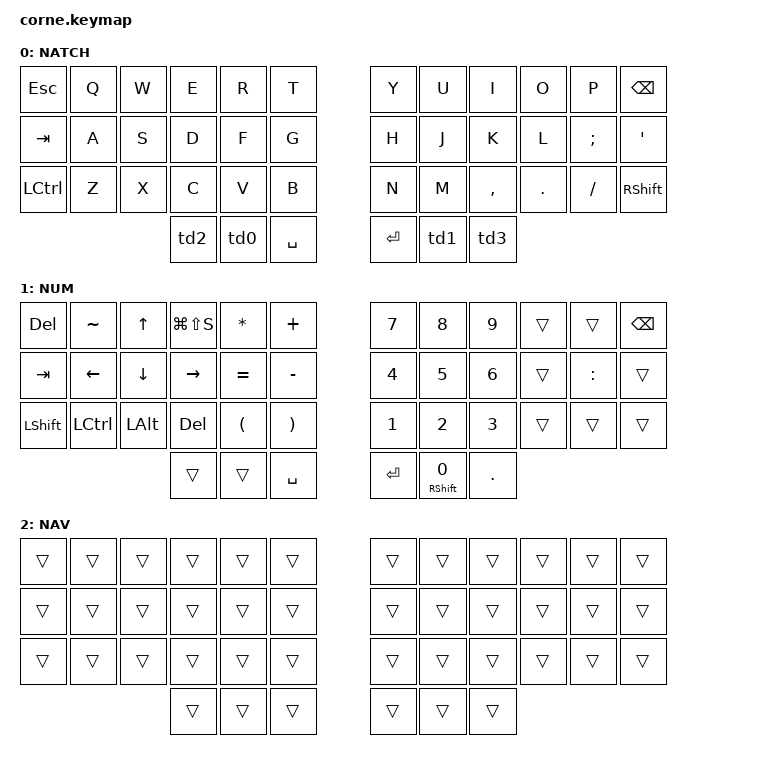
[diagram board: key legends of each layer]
/*
 * Copyright (c) 2020 The ZMK Contributors
 *
 * SPDX-License-Identifier: MIT
 */

#include <dt-bindings/led/led.h>
#include <dt-bindings/zmk/reset.h>
#include <behaviors.dtsi>
#include <dt-bindings/zmk/keys.h>

&led_strip { chain-length = <27>; };

/ {
    behaviors {
        td0: td0 {
            compatible = "zmk,behavior-tap-dance";
            label = "TD0";
            #binding-cells = <0>;
            bindings = <&kp LEFT_SHIFT>, <&kp HOME>;
        };

        td1: td1 {
            compatible = "zmk,behavior-tap-dance";
            label = "TD1";
            #binding-cells = <0>;
            bindings = <&kp RIGHT_SHIFT>, <&kp END>;
        };

        td2: td2 {
            compatible = "zmk,behavior-tap-dance";
            label = "TD2";
            #binding-cells = <0>;
            bindings = <&mo 1>, <&kp LEFT_GUI>;
        };

        td3: td3 {
            compatible = "zmk,behavior-tap-dance";
            label = "TD3";
            #binding-cells = <0>;
            bindings = <&kp RIGHT_ALT>, <&tog 1>;
        };
    };

    keymap {
        compatible = "zmk,keymap";

        Letters {
            display-name = "NATCH";

            // -----------------------------------------------------------------------------------------
            // |  TAB |  Q  |  W  |  E  |  R  |  T  |   |  Y  |  U   |  I  |  O  |  P  | BKSP |
            // | CTRL |  A  |  S  |  D  |  F  |  G  |   |  H  |  J   |  K  |  L  |  ;  |  '   |
            // | SHFT |  Z  |  X  |  C  |  V  |  B  |   |  N  |  M   |  ,  |  .  |  /  | ESC  |
            //                    | GUI | LWR | SPC |   | ENT | RSE  | ALT |

            bindings = <
&kp ESCAPE  &kp Q  &kp W  &kp E  &kp R  &kp T        &kp Y    &kp U  &kp I      &kp O    &kp P     &kp BSPC
&kp TAB     &kp A  &kp S  &kp D  &kp F  &kp G        &kp H    &kp J  &kp K      &kp L    &kp SEMI  &kp SQT
&kp LCTRL   &kp Z  &kp X  &kp C  &kp V  &kp B        &kp N    &kp M  &kp COMMA  &kp DOT  &kp FSLH  &kp RIGHT_SHIFT
                          &td2   &td0   &kp SPACE    &kp RET  &td1   &td3
            >;
        };

        Numbers {
            display-name = "NUM";

            // -----------------------------------------------------------------------------------------
            // |  TAB |  1  |  2  |  3  |  4  |  5  |   |  6  |  7  |  8  |  9  |  0  | BKSP |
            // | BTCLR| BT1 | BT2 | BT3 | BT4 | BT5 |   | LFT | DWN |  UP | RGT |     |      |
            // | SHFT |     |     |     |     |     |   |     |     |     |     |     |      |
            //                    | GUI |     | SPC |   | ENT |     | ALT |

            bindings = <
&kp DELETE  &kp TILDE         &kp UP_ARROW    &kp LG(LS(S))  &kp ASTRK             &kp PLUS                 &kp N7        &kp N8              &kp N9        &trans  &trans     &kp BSPC
&kp TAB     &kp LEFT_ARROW    &kp DOWN_ARROW  &kp RIGHT      &kp EQUAL             &kp MINUS                &kp NUMBER_4  &kp N5              &kp NUMBER_6  &trans  &kp COLON  &trans
&kp LSHFT   &kp LEFT_CONTROL  &kp LEFT_ALT    &kp DELETE     &kp LEFT_PARENTHESIS  &kp RIGHT_PARENTHESIS    &kp NUMBER_1  &kp NUMBER_2        &kp NUMBER_3  &trans  &trans     &trans
                                              &trans         &trans                &kp SPACE                &kp RET       &mt RIGHT_SHIFT N0  &kp PERIOD
            >;
        };

        Navigation {
            display-name = "NAV";

            // -----------------------------------------------------------------------------------------
            // |  TAB |  !  |  @  |  #  |  $  |  %  |   |  ^  |  &  |  *  |  (  |  )  | BKSP |
            // | CTRL |     |     |     |     |     |   |  -  |  =  |  [  |  ]  |  \  |  `   |
            // | SHFT |     |     |     |     |     |   |  _  |  +  |  {  |  }  | "|" |  ~   |
            //                    | GUI |     | SPC |   | ENT |     | ALT |

            bindings = <
&trans  &trans  &trans  &trans  &trans  &trans    &trans  &trans  &trans  &trans  &trans  &trans
&trans  &trans  &trans  &trans  &trans  &trans    &trans  &trans  &trans  &trans  &trans  &trans
&trans  &trans  &trans  &trans  &trans  &trans    &trans  &trans  &trans  &trans  &trans  &trans
                        &trans  &trans  &trans    &trans  &trans  &trans
            >;
        };

        extra_1 { status = "reserved"; };

        extra_2 { status = "reserved"; };

        extra_3 { status = "reserved"; };
    };
};
